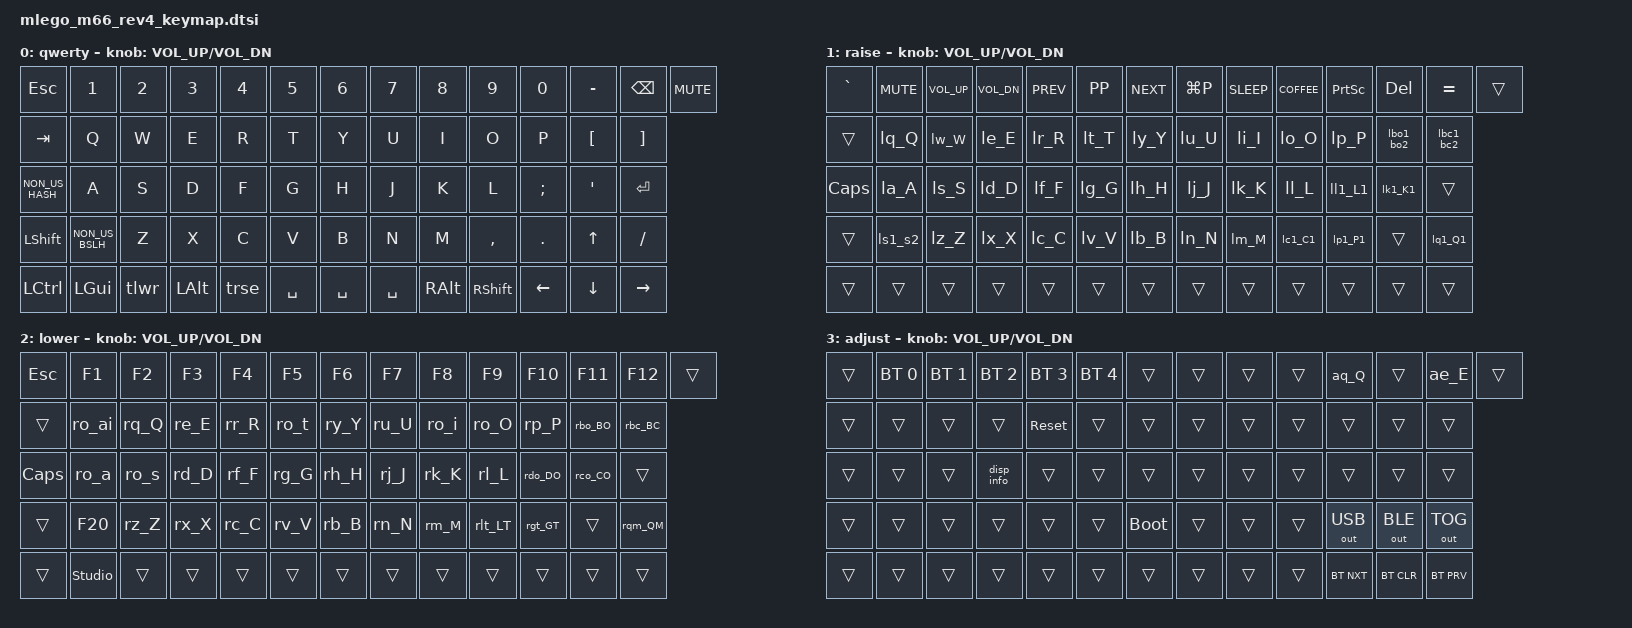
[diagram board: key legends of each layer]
/*
 * Copyright (c) 2022-2024 The ZMK Contributors
 *
 * SPDX-License-Identifier: MIT
 */
 
#define HOST_OS 1
#include <behaviors.dtsi>
#include <dt-bindings/zmk/keys.h>
#include <dt-bindings/zmk/outputs.h>
#include <dt-bindings/zmk/bt.h>
#include <dt-bindings/zmk/ext_power.h>
#include "zmk-helpers/helper.h"
#include "romanian.dtsi"
#include "my_keys.dtsi"

#define  QW 0
#define RSE 1
#define LWR 2
#define ADJ 3

/ {

    conditional_layers {
        compatible = "zmk,conditional-layers";
        tri_layer {
            if-layers = <LWR RSE>;
            then-layer = <ADJ>;
        };
    };

    behaviors {
        tlwr: tlwr {
            compatible = "zmk,behavior-tap-dance";
            #binding-cells = <0>;
            tapping-term-ms = <200>;
            bindings = <&mo LWR>, <&tog LWR>, <&trans>;
        };

        trse: trse {
            compatible = "zmk,behavior-tap-dance";
            #binding-cells = <0>;
            tapping-term-ms = <200>;
            bindings = <&mo RSE>, <&tog RSE>, <&trans>;
        };

        disp_info: disp_info {
            compatible = "zmk,behavior-display-info";
            #binding-cells = <0>;
        };
    };

    keymap {
        compatible = "zmk,keymap";

/*
 * QWERTY Layer (Format: [lower upper] for dual-character keys)
 *
 * ┌─────┬─────┬─────┬─────┬─────┬─────┬─────┬─────┬─────┬─────┬─────┬─────┬─────┬─────┐
 * │ ⎋   │ 1 ! │ 2 " │ 3 £ │ 4 $ │ 5 % │ 6 ^ │ 7 & │ 8 * │ 9 ( │ 0 ) │ - _ │ ⌫   │ 🕨   │
 * ├─────┼─────┼─────┼─────┼─────┼─────┼─────┼─────┼─────┼─────┼─────┼─────┼─────┼─────┘
 * │ ↹   │ q Q │ w W │ e E │ r R │ t T │ y Y │ u U │ i I │ o O │ p P │ [ { │ ] } │
 * ├─────┼─────┼─────┼─────┼─────┼─────┼─────┼─────┼─────┼─────┼─────┼─────┼─────┤
 * │ # ~ │ a A │ s S │ d D │ f F │ g G │ h H │ j J │ k K │ l L │ ; : │ ' @ │ ⏎   │
 * ├─────┼─────┼─────┼─────┼─────┼─────┼─────┼─────┼─────┼─────┼─────┼─────┼─────┤
 * │ ⇧(  │ \ | │ z Z │ x X │ c C │ v V │ b B │ n N │ m M │ , < │ . > │ ↑   │ / ? │
 * ├─────┼─────┼─────┼─────┼─────┼─────┼─────┼─────┼─────┼─────┼─────┼─────┼─────┤
 * │ ⎈   │    │ ⇓   │ ⎇   │ ⇑   │ ␣   │ ␣   │ ␣   │ ⎇   │ ⇧)  │ ←   │ ↓   │ →   │
 * └─────┴─────┴─────┴─────┴─────┴─────┴─────┴─────┴─────┴─────┴─────┴─────┴─────┘
 */
        qw_layer {
            display-name = "qwerty";
            bindings = <
                &kp ESC          &kp N1          &kp N2 &kp N3   &kp N4 &kp N5    &kp N6    &kp N7    &kp N8   &kp N9    &kp N0   &kp MINUS &kp BSPC &kp K_MUTE
                &kp TAB          &kp Q           &kp W  &kp E    &kp R  &kp T     &kp Y     &kp U     &kp I    &kp O     &kp P    &kp LBKT  &kp RBKT
                &kp NON_US_HASH  &kp A           &kp S  &kp D    &kp F  &kp G     &kp H     &kp J     &kp K    &kp L     &kp SEMI &kp APOS  &kp RET
                &kp LSHFT        &kp NON_US_BSLH &kp Z  &kp X    &kp C  &kp V     &kp B     &kp N     &kp M    &kp COMMA &kp DOT  &kp UP    &kp FSLH   
                &kp LCTRL        &kp LGUI        &tlwr  &kp LALT &trse  &kp SPACE &kp SPACE &kp SPACE &kp RALT &kp RSHFT &kp LEFT &kp DOWN  &kp RIGHT 
            >;
      sensor-bindings = <&inc_dec_kp C_VOL_UP C_VOL_DN>;
        };

/*
 * RAISE Layer (Format: [lower upper] for unicode pairs and dual characters)
 *
 * ┌─────┬─────┬─────┬─────┬─────┬─────┬─────┬─────┬─────┬─────┬─────┬─────┬─────┬─────┐
 * │ ` ~ │ 🕨   │ VOL+│ VOL-│ ⏮  │ ⏯  │ ⏭  │ ⊞P  │ SLP │ COF │ ⎙   │ ⌦   │ = + │     │
 * ├─────┼─────┼─────┼─────┼─────┼─────┼─────┼─────┼─────┼─────┼─────┼─────┼─────┼─────┘
 * │     │ σ ϕ │ ω Ω │ ε ℇ │ ρ ∇ │ ϑ θ │ ℝ ℤ │ τ ℂ │ ∫ ∮ │ ∞ ⊗ │ π ∏ │ ⋜ ≠ │ ⋝ ≊ │
 * ├─────┼─────┼─────┼─────┼─────┼─────┼─────┼─────┼─────┼─────┼─────┼─────┼─────┤
 * │ ⇪   │ α Α │ ∑ ⨋ │ δ ∂ │ φ ψ │ γ Γ │ ℏ ℋ │ ∈ ∉ │ ϰ ∆ │ λ Λ │ ° ℒ │ ∝ Å │     │
 * ├─────┼─────┼─────┼─────┼─────┼─────┼─────┼─────┼─────┼─────┼─────┼─────┼─────┤
 * │     │ ≡ ≢ │ ζ ∡ │ ξ Ξ │ χ ⊂ │ ν ⊃ │ β ∩ │ η ∪ │ μ ∘ │ ≈ ≉ │ ± ∓ │     │ × ⋅ │
 * ├─────┼─────┼─────┼─────┼─────┼─────┼─────┼─────┼─────┼─────┼─────┼─────┼─────┤
 * │     │     │     │     │     │     │     │     │     │     │     │     │     │
 * └─────┴─────┴─────┴─────┴─────┴─────┴─────┴─────┴─────┴─────┴─────┴─────┴─────┘
 */
        raise_layer {
            display-name = "raise";
            bindings = <
                &kp GRAVE &kp K_MUTE &kp K_VOL_UP &kp K_VOL_DN &kp K_PREV &kp K_PP &kp K_NEXT &kp LG(P)   &kp K_SLEEP &kp K_COFFEE &kp PSCRN &kp DEL    &kp EQUAL &trans
                &trans    &lq_Q      &lw_W        &le_E        &lr_R      &lt_T    &ly_Y      &lu_U       &li_I       &lo_O        &lp_P     &lbo1_bo2  &lbc1_bc2
                &kp CAPS  &la_A      &ls_S        &ld_D        &lf_F      &lg_G    &lh_H      &lj_J       &lk_K       &ll_L        &ll1_L1   &lk1_K1    &trans
                &trans    &ls1_s2    &lz_Z        &lx_X        &lc_C      &lv_V    &lb_B      &ln_N       &lm_M       &lc1_C1      &lp1_P1   &trans     &lq1_Q1
                &trans    &trans     &trans       &trans       &trans     &trans   &trans     &trans      &trans      &trans       &trans    &trans     &trans
            >;
      sensor-bindings = <&inc_dec_kp C_VOL_UP C_VOL_DN>;
        };

/*
 * LOWER Layer (Format: [lower upper] for romanian diacritics and unicode pairs)
 *
 * ┌─────┬─────┬─────┬─────┬─────┬─────┬─────┬─────┬─────┬─────┬─────┬─────┬─────┬─────┐
 * │ ⎋   │ F1  │ F2  │ F3  │ F4  │ F5  │ F6  │ F7  │ F8  │ F9  │ F10 │ F11 │ F12 │     │
 * ├─────┼─────┼─────┼─────┼─────┼─────┼─────┼─────┼─────┼─────┼─────┼─────┼─────┼─────┘
 * │     │ â Â │ ⇒ ⇐ │ ⇄ ⇆ │ ↦ ↤ │ ț Ț │ → ← │ ∬ ∯ │ î Î │ ⊕ ⊖ │ ⇝ ⇜ │ ≪ ≤ │ ≫ ≥ │
 * ├─────┼─────┼─────┼─────┼─────┼─────┼─────┼─────┼─────┼─────┼─────┼─────┼─────┤
 * │ ⇪   │ ă Ă │ ș Ș │ ∅ ∎ │ ⟼ ⟻ │ ℎ ≁ │ ⟶ ⟵ │ ∋ ∌ │ ÷ ○ │ ⊠ ○ │ ⟿ ⬳ │ ≅ ≇ │     │
 * ├─────┼─────┼─────┼─────┼─────┼─────┼─────┼─────┼─────┼─────┼─────┼─────┼─────┤
 * │     │ F20 │ ∠ ∢ │ ç Ç │ ⊄ ⊆ │ ⊅ ⊇ │ ∧ ⊼ │ ∨ ⊻ │ ⊈ ⊊ │ ⊉ ⊋ │ ∥ ∦ │     │ ∴ ∵ │
 * ├─────┼─────┼─────┼─────┼─────┼─────┼─────┼─────┼─────┼─────┼─────┼─────┼─────┤
 * │     │ UNLK│     │     │     │     │     │     │     │     │     │     │     │
 * └─────┴─────┴─────┴─────┴─────┴─────┴─────┴─────┴─────┴─────┴─────┴─────┴─────┘
 */
        lower_layer {
            display-name = "lower";
            bindings = <
                &kp ESC  &kp F1          &kp F2   &kp F3  &kp F4  &kp F5  &kp F6  &kp F7  &kp F8  &kp F9  &kp F10 &kp F11 &kp F12 &trans
                &trans   &ro_ai          &rq_Q    &re_E   &rr_R   &ro_t   &ry_Y   &ru_U   &ro_i   &ro_O   &rp_P    &rbo_BO &rbc_BC
                &kp CAPS &ro_a           &ro_s    &rd_D   &rf_F   &rg_G   &rh_H   &rj_J   &rk_K   &rl_L   &rdo_DO  &rco_CO  &trans
                &trans   &kp F20         &rz_Z    &rx_X   &rc_C   &rv_V   &rb_B   &rn_N   &rm_M   &rlt_LT &rgt_GT  &trans  &rqm_QM
                &trans   &studio_unlock  &trans   &trans  &trans  &trans  &trans  &trans  &trans  &trans  &trans  &trans  &trans
            >; 
      sensor-bindings = <&inc_dec_kp C_VOL_UP C_VOL_DN>;
        };

/*
 * ADJUST Layer (Format: [lower upper] for unicode pairs)
 *
 * ┌─────┬─────┬─────┬─────┬─────┬─────┬─────┬─────┬─────┬─────┬─────┬─────┬─────┬─────┐
 * │     │ 0  │ 1  │ 2  │ 3  │ 4  │     │     │     │     │ ≜ ≣ │     │ ≃ ≔ │     │
 * ├─────┼─────┼─────┼─────┼─────┼─────┼─────┼─────┼─────┼─────┼─────┼─────┼─────┼─────┘
 * │     │     │     │     │    │     │     │     │     │     │     │     │     │
 * ├─────┼─────┼─────┼─────┼─────┼─────┼─────┼─────┼─────┼─────┼─────┼─────┼─────┤
 * │     │     │     │ DSP │     │     │     │     │     │     │     │     │     │
 * ├─────┼─────┼─────┼─────┼─────┼─────┼─────┼─────┼─────┼─────┼─────┼─────┼─────┤
 * │     │     │     │     │     │     │    │     │     │     │    │    │   │
 * ├─────┼─────┼─────┼─────┼─────┼─────┼─────┼─────┼─────┼─────┼─────┼─────┼─────┤
 * │     │     │     │     │     │     │     │     │     │     │ +  │ CLR│ -  │
 * └─────┴─────┴─────┴─────┴─────┴─────┴─────┴─────┴─────┴─────┴─────┴─────┴─────┘
 */
        adjust_layer {
            display-name = "adjust";
            bindings = <
                &trans  &bt BT_SEL 0    &bt BT_SEL 1 &bt BT_SEL 2 &bt BT_SEL 3 &bt BT_SEL 4 &trans      &trans &trans &trans &aq_Q       &trans       &ae_E &trans
                &trans  &trans          &trans       &trans       &sys_reset   &trans        &trans      &trans &trans &trans &trans      &trans       &trans
                &trans  &trans          &trans       &disp_info   &trans       &trans       &trans      &trans &trans &trans &trans       &trans       &trans
                &trans  &trans          &trans       &trans       &trans       &trans       &bootloader &trans &trans &trans &out OUT_USB &out OUT_BLE &out OUT_TOG 
                &trans  &trans          &trans       &trans       &trans       &trans       &trans      &trans &trans &trans &bt BT_NXT   &bt BT_CLR   &bt BT_PRV   
            >;
      sensor-bindings = <&inc_dec_kp C_VOL_UP C_VOL_DN>;
        };

    };
};
